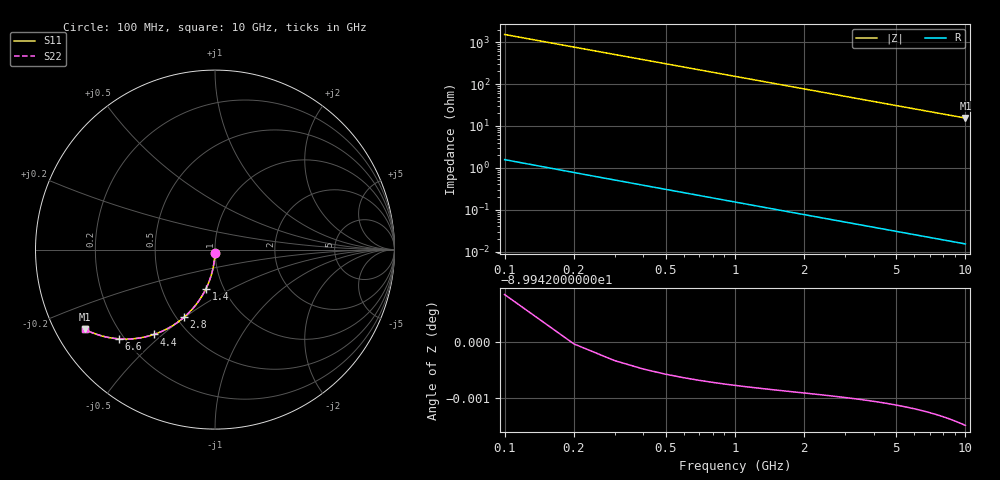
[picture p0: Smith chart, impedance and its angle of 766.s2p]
# Hz S RI R 50.00
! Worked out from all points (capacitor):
!   100 points, 100 MHz to 10 GHz, reference 50 ohm
!   read as one part in shunt: C = 1.04 pF near 100 MHz
!   lowest |Z| = 15.4 ohm at 10 GHz (marker M1)
!   S11 on the Smith chart (normalised r, x): 100 MHz: 1.00, -0.03; 1.4 GHz: 0.83, -0.38; 2.8 GHz: 0.54, -0.50; 4.4 GHz: 0.33, -0.47; 6.6 GHz: 0.18, -0.38; 10 GHz: 0.09, -0.28
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1e8  -0.000277 -0.0163  0.9997 -0.0164  0.9997 -0.0164  -0.000277 -0.0163
2e8  -0.0011 -0.0327  0.9989 -0.0327  0.9989 -0.0327  -0.0011 -0.0327
3e8  -0.00245 -0.0489  0.9975 -0.049  0.9975 -0.049  -0.00245 -0.0489
4e8  -0.00432 -0.0651  0.9957 -0.0652  0.9957 -0.0652  -0.00432 -0.0651
5e8  -0.00672 -0.0812  0.9933 -0.0813  0.9933 -0.0813  -0.00672 -0.0812
6e8  -0.00964 -0.0971  0.9903 -0.0973  0.9903 -0.0973  -0.00964 -0.0971
7e8  -0.0131 -0.1129  0.9869 -0.1131  0.9869 -0.1131  -0.0131 -0.1129
9e8  -0.0214 -0.1439  0.9786 -0.1442  0.9786 -0.1442  -0.0214 -0.1439
1.1e9  -0.0315 -0.1741  0.9685 -0.1744  0.9685 -0.1744  -0.0315 -0.1741
1.4e9  -0.05 -0.2173  0.95 -0.2177  0.95 -0.2177  -0.05 -0.2173
1.8e9  -0.0799 -0.2704  0.92 -0.271  0.92 -0.271  -0.0799 -0.2704
2.3e9  -0.1241 -0.3288  0.8759 -0.3295  0.8759 -0.3295  -0.1241 -0.3288
2.8e9  -0.1733 -0.3776  0.8267 -0.3784  0.8267 -0.3784  -0.1733 -0.3776
3.4e9  -0.2358 -0.4235  0.7642 -0.4245  0.7642 -0.4245  -0.2358 -0.4235
4.4e9  -0.3401 -0.4726  0.6599 -0.4739  0.6599 -0.4739  -0.3401 -0.4726
5.1e9  -0.4087 -0.4903  0.5912 -0.4919  0.5912 -0.4919  -0.4087 -0.4903
5.8e9  -0.4716 -0.4978  0.5284 -0.4996  0.5284 -0.4996  -0.4716 -0.4978
6.6e9  -0.5357 -0.4972  0.4643 -0.4993  0.4643 -0.4993  -0.5357 -0.4972
6.7e9  -0.5431 -0.4966  0.4569 -0.4987  0.4569 -0.4987  -0.5431 -0.4966
7.5e9  -0.5979 -0.4886  0.4021 -0.491  0.4021 -0.491  -0.5979 -0.4886
8.4e9  -0.6506 -0.475  0.3494 -0.4776  0.3494 -0.4776  -0.6506 -0.475
1e10  -0.7246 -0.4446  0.2754 -0.4478  0.2754 -0.4478  -0.7246 -0.4446
